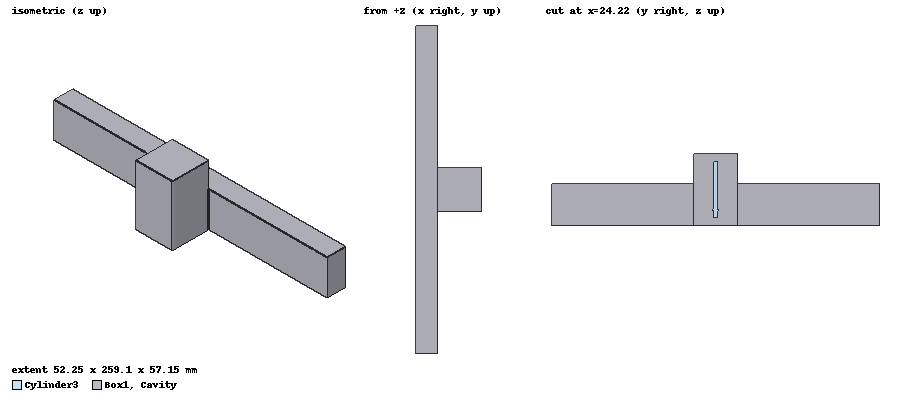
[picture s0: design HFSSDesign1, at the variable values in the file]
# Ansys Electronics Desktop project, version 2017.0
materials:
  vacuum: permittivity=1
  perfect conductor: conductivity=1e+030

design HFSSDesign1 (HFSS, Eigenmode, model units mm)
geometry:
  Cavity [perfect conductor] = box(corner=(0.697in, -0.68in, 0in), size=(1.36in, 1.36in, 2.25in))
  Box1 [perfect conductor] = box(corner=(0in, -5.1in, 0in), size=(0.697in, 10.2in, 1.322in))
  Cylinder3 [vacuum] = cylinder(axis=X, base_centre=(0.597in, 0in, 0.5in), radius=0.08in, height=0.38in)
  Cylinder4 = cylinder(axis=Z, base_centre=(1.377in, 0in, 0.25in), radius=0.43in, height=1.75in)
  waveguide1 = box(corner=(0.1in, -5in, 0.1in), size=(0.497in, 10in, 1.122in))
  Cylinder3.unite(Cylinder4, waveguide1)
  Cylinder3_1 = Cylinder3.copy()
  Box1.subtract(Cylinder3_1)
  Cylinder3_2 = Cylinder3.copy()
  Cavity.subtract(Cylinder3_2)
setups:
  Setup1: HfssEigen MinimumFrequency=0.57897GHz NumModes=3 MaxDeltaFreq=10 ConvergeOnRealFreq=false MaximumPasses=5 MinimumPasses=1 MinimumConvergedPasses=1 PercentRefinement=30 BasisOrder=1
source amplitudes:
  #-10:1: 1 0deg
  #-10:2, #-10:3: 0 0deg
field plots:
  Mag_E1: E Field in Cylinder3 on Setup1 : LastAdaptive at Phase=0deg
